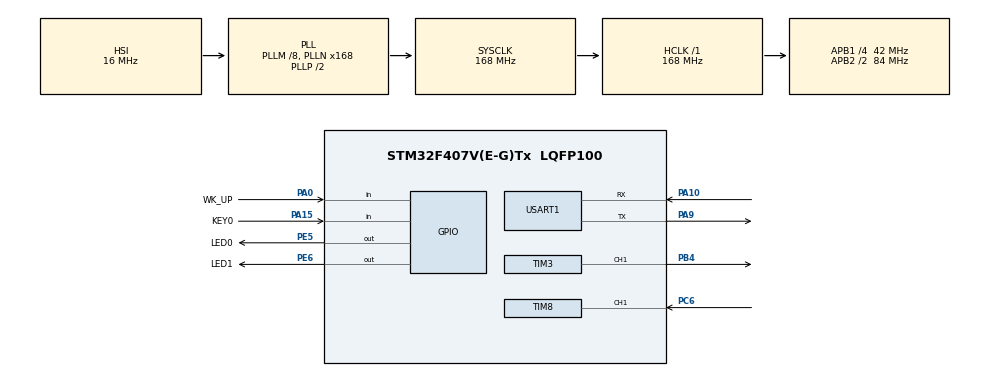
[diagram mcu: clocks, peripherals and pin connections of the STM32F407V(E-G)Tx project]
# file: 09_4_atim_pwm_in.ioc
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Mcu.Family=STM32F4
Mcu.Name=STM32F407V(E-G)Tx
Mcu.Package=LQFP100
NVIC.PriorityGroup=NVIC_PRIORITYGROUP_2
NVIC.TIM8_CC_IRQn=true\:2\:1\:true\:false\:true\:true\:true\:true
NVIC.TIM8_UP_TIM13_IRQn=true\:2\:1\:true\:false\:true\:true\:true\:true
NVIC.USART1_IRQn=true\:2\:2\:true\:false\:true\:true\:true\:true
PA0-WKUP.GPIO_Label=WK_UP
PA0-WKUP.GPIO_PuPd=GPIO_PULLDOWN
PA0-WKUP.Signal=GPIO_Input
PA10.Mode=Asynchronous
PA10.Signal=USART1_RX
PA13.Mode=Serial_Wire
PA13.Signal=SYS_JTMS-SWDIO
PA14.Mode=Serial_Wire
PA14.Signal=SYS_JTCK-SWCLK
PA15.GPIO_Label=KEY0
PA15.GPIO_PuPd=GPIO_PULLDOWN
PA15.Signal=GPIO_Input
PA9.Mode=Asynchronous
PA9.Signal=USART1_TX
PB4.Signal=S_TIM3_CH1
PC14-OSC32_IN.Mode=LSE-External-Oscillator
PC14-OSC32_IN.Signal=RCC_OSC32_IN
PC15-OSC32_OUT.Mode=LSE-External-Oscillator
PC15-OSC32_OUT.Signal=RCC_OSC32_OUT
PC6.Signal=S_TIM8_CH1
PE5.GPIO_Label=LED0
PE5.GPIO_PuPd=GPIO_PULLUP
PE5.GPIO_Speed=GPIO_SPEED_FREQ_HIGH
PE5.PinState=GPIO_PIN_SET
PE5.Signal=GPIO_Output
PE6.GPIO_Label=LED1
PE6.GPIO_PuPd=GPIO_PULLUP
PE6.GPIO_Speed=GPIO_SPEED_FREQ_HIGH
PE6.PinState=GPIO_PIN_SET
PE6.Signal=GPIO_Output
PH0-OSC_IN.Mode=HSE-External-Oscillator
PH0-OSC_IN.Signal=RCC_OSC_IN
PH1-OSC_OUT.Mode=HSE-External-Oscillator
PH1-OSC_OUT.Signal=RCC_OSC_OUT
ProjectManager.HeapSize=0x200
ProjectManager.StackSize=0x400
ProjectManager.TargetToolchain=STM32CubeIDE
RCC.48MHZClocksFreq_Value=84000000
RCC.AHBFreq_Value=168000000
RCC.APB1CLKDivider=RCC_HCLK_DIV4
RCC.APB1Freq_Value=42000000
RCC.APB1TimFreq_Value=84000000
RCC.APB2CLKDivider=RCC_HCLK_DIV2
RCC.APB2Freq_Value=84000000
RCC.APB2TimFreq_Value=168000000
RCC.CortexFreq_Value=168000000
RCC.HCLKFreq_Value=168000000
RCC.HSE_VALUE=25000000
RCC.HSI_VALUE=16000000
RCC.PLLM=8
RCC.PLLN=168
RCC.SYSCLKFreq_VALUE=168000000
RCC.SYSCLKSource=RCC_SYSCLKSOURCE_PLLCLK
RCC.VCOOutputFreq_Value=336000000
SH.S_TIM3_CH1.0=TIM3_CH1,PWM Generation1 CH1
SH.S_TIM8_CH1.0=TIM8_CH1,TriggerSource_TI1FP1
SH.S_TIM8_CH1.1=TIM8_CH1,Input_Capture1_from_TI1
TIM3.AutoReloadPreload=TIM_AUTORELOAD_PRELOAD_ENABLE
TIM3.Channel-PWM\ Generation1\ CH1=TIM_CHANNEL_1
TIM3.OCPolarity_1=TIM_OCPOLARITY_LOW
TIM3.Period=100-1
TIM3.Prescaler=84-1
TIM3.Pulse-PWM\ Generation1\ CH1=50
TIM8.AutoReloadPreload=TIM_AUTORELOAD_PRELOAD_ENABLE
TIM8.Channel-Input_Capture1_from_TI1=TIM_CHANNEL_1
TIM8.Channel-Input_Capture2_from_TI1_63=TIM_CHANNEL_2
TIM8.ICPolarity_CH2=TIM_INPUTCHANNELPOLARITY_FALLING
TIM8.Prescaler=168-1
USART1.VirtualMode=VM_ASYNC
VP_TIM3_VS_ClockSourceINT.Mode=Internal
VP_TIM8_VS_ClockSourceINT.Mode=Internal
VP_TIM8_VS_ControllerModeReset.Mode=Reset Mode
VP_TIM8_VS_indirect_ch1.Mode=Input_Capture2_from_TI1_63
board=custom

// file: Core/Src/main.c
/**
 ****************************************************************************************************
 * @file        main.c
 * @author      ALIENTEK
 * @brief       Advanced timer PWM input code
 * @license     Copyright (C) 2012-2024, ALIENTEK
 ****************************************************************************************************
 * @attention
 *
 * platform     : ALIENTEK M100-STM32F407 board
 * website      : www.alientek.com
 * forum        : www.openedv.com/forum.php
 *
 * change logs  :
 * version      data         notes
 * V1.0         20240409     the first version
 *
 ****************************************************************************************************
 */

/* USER CODE BEGIN Header */

/* USER CODE END Header */
#include "main.h"
#include "tim.h"
#include "usart.h"
#include "gpio.h"

/* USER CODE BEGIN Includes */
#include "../../BSP/LED/led.h"
#include "../../BSP/KEY/key.h"
/* USER CODE END Includes */

/* USER CODE BEGIN PD */
/**
 * @brief   Displays information about the experiment
 * @param   None
 * @retval  None
 */
void stm32f407vg_show_mesg(void)
{
	/* The serial port outputs the experimental information */
	printf("\n");
	printf("********************************\r\n");
	printf("STM32F407\r\n");
	printf("ATIM PWM intput Test\r\n");
	printf("ATOM@ALIENTEK\r\n");
	printf("********************************\r\n");
	printf("\r\n");
}
/* USER CODE END PD */

void SystemClock_Config(void);
/* USER CODE BEGIN PFP */
extern uint8_t g_timx_chy_pwmin_sta;
extern uint32_t g_timx_chy_pwmin_hval;
extern uint32_t g_timx_chy_pwmin_cval;
/* USER CODE END PFP */

int main(void)
{
  /* USER CODE BEGIN 1 */
  uint8_t t = 0;
  /* USER CODE END 1 */

  /* MCU Configuration--------------------------------------------------------*/

  /* Reset of all peripherals, Initializes the Flash interface and the Systick. */
  HAL_Init();

  /* Configure the system clock */
  SystemClock_Config();

  /* Initialize all configured peripherals */
  MX_GPIO_Init();
  MX_USART1_UART_Init();
  MX_TIM3_Init();
  MX_TIM8_Init();
  /* USER CODE BEGIN 2 */
  stm32f407vg_show_mesg();
  /* USER CODE END 2 */

  /* Infinite loop */
  /* USER CODE BEGIN WHILE */
  while (1)
  {
	  t++;
	  HAL_Delay(10);  /* delay 10ms */

	  if (t >= 20)    /* The results are output every 200ms, and the LED0 is blinked to prompt the program to run. */
	  {
	      if (g_timx_chy_pwmin_sta == 1)    /* The data is captured once */
	      {
	  	      g_timx_chy_pwmin_sta = 0;

	  	      printf("PWM Hight time:%d us\r\n", (int)g_timx_chy_pwmin_hval);            /* Print high level pulse width length */
	  	      printf("PWM Cycle time:%d us\r\n", (int)g_timx_chy_pwmin_cval);            /* Print cycle time length */
	  	      printf("PWM Frequency :%d Hz\r\n", (int)(1000000 / g_timx_chy_pwmin_cval));  /* Print frequency */
	     }
	     if (t >= 20)    /* The results are output every 200ms, and the LED0 is blinked to prompt the program to run. */
	     {
	  	     LED0_TOGGLE();                                          /* LED0 blinks to indicate that the program is running */
	  	     t = 0;
	     }
	  }
    /* USER CODE END WHILE */

  }
}

void SystemClock_Config(void)
{
  RCC_OscInitTypeDef RCC_OscInitStruct = {0};
  RCC_ClkInitTypeDef RCC_ClkInitStruct = {0};

  /** Configure the main internal regulator output voltage
  */
  __HAL_RCC_PWR_CLK_ENABLE();
  __HAL_PWR_VOLTAGESCALING_CONFIG(PWR_REGULATOR_VOLTAGE_SCALE1);

  /** Initializes the RCC Oscillators according to the specified parameters
  * in the RCC_OscInitTypeDef structure.
  */
  RCC_OscInitStruct.OscillatorType = RCC_OSCILLATORTYPE_HSI;
  RCC_OscInitStruct.HSIState = RCC_HSI_ON;
  RCC_OscInitStruct.HSICalibrationValue = RCC_HSICALIBRATION_DEFAULT;
  RCC_OscInitStruct.PLL.PLLState = RCC_PLL_ON;
  RCC_OscInitStruct.PLL.PLLSource = RCC_PLLSOURCE_HSI;
  RCC_OscInitStruct.PLL.PLLM = 8;
  RCC_OscInitStruct.PLL.PLLN = 168;
  RCC_OscInitStruct.PLL.PLLP = RCC_PLLP_DIV2;
  RCC_OscInitStruct.PLL.PLLQ = 4;
  if (HAL_RCC_OscConfig(&RCC_OscInitStruct) != HAL_OK)
  {
    Error_Handler();
  }

  /** Initializes the CPU, AHB and APB buses clocks
  */
  RCC_ClkInitStruct.ClockType = RCC_CLOCKTYPE_HCLK|RCC_CLOCKTYPE_SYSCLK
                              |RCC_CLOCKTYPE_PCLK1|RCC_CLOCKTYPE_PCLK2;
  RCC_ClkInitStruct.SYSCLKSource = RCC_SYSCLKSOURCE_PLLCLK;
  RCC_ClkInitStruct.AHBCLKDivider = RCC_SYSCLK_DIV1;
  RCC_ClkInitStruct.APB1CLKDivider = RCC_HCLK_DIV4;
  RCC_ClkInitStruct.APB2CLKDivider = RCC_HCLK_DIV2;

  if (HAL_RCC_ClockConfig(&RCC_ClkInitStruct, FLASH_LATENCY_5) != HAL_OK)
  {
    Error_Handler();
  }
}

void Error_Handler(void)
{
  __disable_irq();
  while (1)
  {
  }
}
